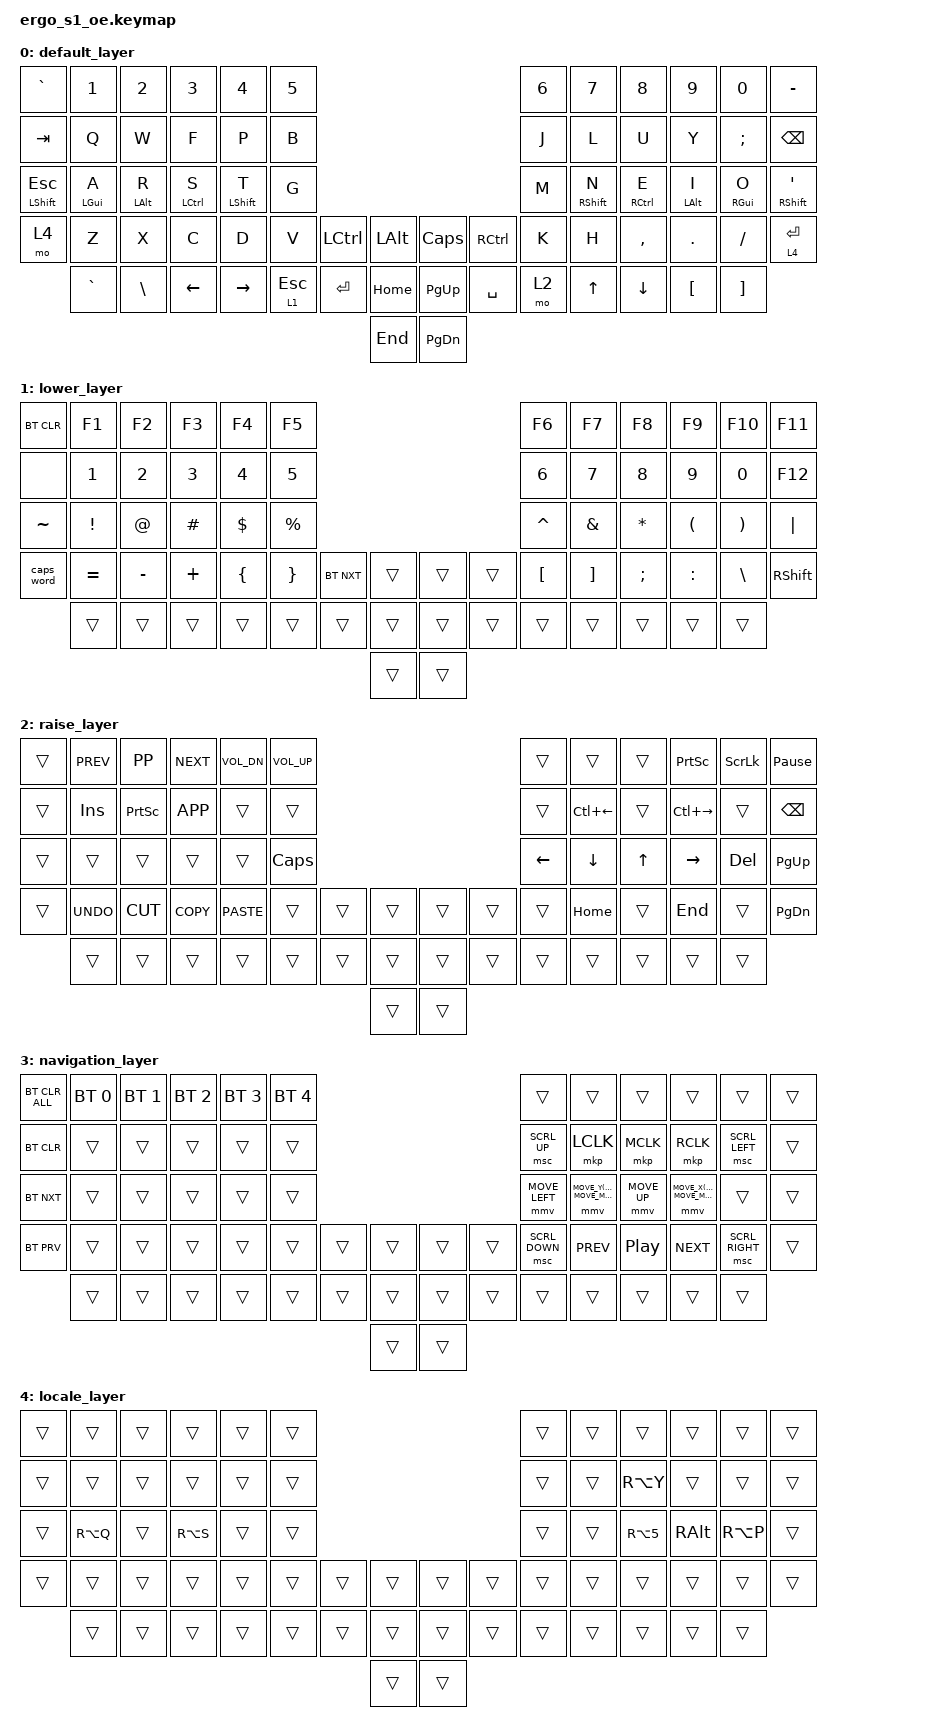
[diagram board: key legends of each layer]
/*
 * Copyright (c) 2021 The ZMK Contributors
 *
 * SPDX-License-Identifier: MIT
 */
// copy this block to https://nickcoutsos.github.io/keymap-editor/ for visualization/modification

#include <behaviors.dtsi>
#include <behaviors/mouse_keys.dtsi> // include behaviors for mkp:press, mmk:move and mcr:scroll

#include <dt-bindings/zmk/mouse.h>
#include <dt-bindings/zmk/bt.h>
#include <dt-bindings/zmk/keys.h>

// Layer Tap
// The "layer-tap" behavior enables a layer when a key is held, and outputs a keypress when the key
// is only tapped for a short time.

&lt {
    tapping-term-ms = <175>;
    flavor = "tap-preferred";
    quick-tap-ms = <50>;
};

// -- Change mouse behavior -----------------------------------------------------------------------

// The default max speed is much too slow.
// Note: when setting new speed the MOVE_{UP,LEFT,DOWN,RIGH} must per redefined
#define U_MOUSE_MOVE_MAX 1400    // New max speed setting (default: ZMK_MOUSE_DEFAULT_MOVE_VAL 600)
#undef MOVE_UP
#undef MOVE_DOWN
#undef MOVE_LEFT
#undef MOVE_RIGHT
#define MOVE_UP    MOVE_Y(-U_MOUSE_MOVE_MAX)
#define MOVE_DOWN  MOVE_Y(U_MOUSE_MOVE_MAX)
#define MOVE_LEFT  MOVE_X(-U_MOUSE_MOVE_MAX)
#define MOVE_RIGHT MOVE_X(U_MOUSE_MOVE_MAX)

// ------------------------------------------------------------------------------------------------

/ {
    behaviors {
        // homerow mods (gqt: global-quick-tap)

        hm: global-quick-tap {
            compatible = "zmk,behavior-hold-tap";
            label = "home-row-mods";
            #binding-cells = <2>;
            tapping-term-ms = <175>;
            quick-tap-ms = <50>;
            flavor = "tap-preferred";
            global-quick-tap;
            bindings = <&kp>, <&kp>;
        };

        lst: lst {
            compatible = "zmk,behavior-hold-tap";
            label = "left-shift-tap";
            bindings = <&kp>, <&kp>;

            #binding-cells = <2>;
            flavor = "balanced";
            tapping-term-ms = <280>;
            quick-tap-ms = <175>;

            // 20231229 seem to not work with mouse-ftc branch of ftc/zmk    require-prior-idle-ms = <125>;

            hold-trigger-key-positions = <18 46 7 6 8 9 10 11 23 35 51 22 34 50 65 64 63 62 47 48 49 33 32 31 30 19 20 21 67 59 44 45 60 60 61 66 58 43 42 57 56>;
        };

        rst: rst {
            compatible = "zmk,behavior-hold-tap";
            label = "right-shift-tap";
            bindings = <&kp>, <&kp>;

            #binding-cells = <2>;
            flavor = "balanced";
            tapping-term-ms = <280>;
            quick-tap-ms = <175>;
            hold-trigger-key-positions = <56 57 43 42 58 66 44 59 67 60 61 45 0 24 12 36 1 13 25 37 52 38 26 14 2 3 15 27 39 54 53 55 40 28 16 4 5 17 29 41>;
        };
    };

    /* activate NAVIGATION layer when and only when LOWER + RAISE are pressed */

    conditional_layers {
        compatible = "zmk,conditional-layers";

        tri_layer {
            if-layers = <1 2>;
            then-layer = <3>;
        };
    };

    keymap {
        compatible = "zmk,keymap";

        // PBU Notes: map right ALT to LALT on default layer to not use it as ALTGR

        default_layer {
            bindings = <
&kp GRAVE       &kp N1      &kp N2      &kp N3       &kp N4        &kp N5                                                &kp N6      &kp N7        &kp N8       &kp N9      &kp N0      &kp MINUS
&kp TAB         &kp Q       &kp W       &kp F        &kp P         &kp B                                                 &kp J       &kp L         &kp U        &kp Y       &kp SEMI    &kp BSPC
&hm LSHIFT ESC  &hm LGUI A  &hm LALT R  &hm LCTRL S  &lst LSHFT T  &kp G                                                 &kp M       &rst RSHFT N  &hm RCTRL E  &hm LALT I  &hm RGUI O  &hm RSHFT SQT
&mo 4           &kp Z       &kp X       &kp C        &kp D         &kp V      &kp LCTRL  &kp LALT  &kp CAPS   &kp RCTRL  &kp K       &kp H         &kp COMMA    &kp PERIOD  &kp SLASH   &lt 4 ENTER
                &kp GRAVE   &kp BSLH    &kp LEFT     &kp RIGHT     &lt 1 ESC  &kp ENTER  &kp HOME  &kp PG_UP  &kp SPACE  &mo 2   &kp UP        &kp DOWN     &kp LBKT    &kp RBKT
                                                                                         &kp END   &kp PG_DN
            >;
        };

        lower_layer {
            bindings = <
&bt BT_CLR  &kp F1     &kp F2     &kp F3    &kp F4    &kp F5                                     &kp F6     &kp F7    &kp F8    &kp F9     &kp F10   &kp F11
&none       &kp N1     &kp N2     &kp N3    &kp N4    &kp N5                                     &kp N6     &kp N7    &kp N8    &kp N9     &kp N0    &kp F12
&kp TILDE   &kp EXCL   &kp AT     &kp HASH  &kp DLLR  &kp PRCNT                                  &kp CARET  &kp AMPS  &kp STAR  &kp LPAR   &kp RPAR  &kp PIPE
&caps_word  &kp EQUAL  &kp MINUS  &kp PLUS  &kp LBRC  &kp RBRC   &bt BT_NXT  &trans  &trans  &trans  &kp LBKT   &kp RBKT  &kp SEMI  &kp COLON  &kp BSLH  &kp RSHFT
            &trans     &trans     &trans    &trans    &trans     &trans      &trans  &trans  &trans  &trans     &trans    &trans    &trans     &trans
                                                                             &trans  &trans
            >;
        };

        raise_layer {
            bindings = <
&trans  &kp C_PREV  &kp K_PP   &kp C_NEXT  &kp C_VOL_DN  &kp C_VOL_UP                                  &trans    &trans        &trans  &kp PSCRN      &kp SLCK  &kp PAUSE_BREAK
&trans  &kp INS     &kp PSCRN  &kp K_APP   &trans        &trans                                        &trans    &kp LC(LEFT)  &trans  &kp LC(RIGHT)  &trans    &kp BSPC
&trans  &trans      &trans     &trans      &trans        &kp CAPS                                      &kp LEFT  &kp DOWN      &kp UP  &kp RIGHT      &kp DEL   &kp PG_UP
&trans  &kp K_UNDO  &kp K_CUT  &kp K_COPY  &kp K_PASTE   &trans        &trans  &trans  &trans  &trans  &trans    &kp HOME      &trans  &kp END        &trans    &kp PG_DN
        &trans      &trans     &trans      &trans        &trans        &trans  &trans  &trans  &trans  &trans    &trans        &trans  &trans         &trans
                                                                               &trans  &trans
            >;
        };

        navigation_layer {
            bindings = <
&bt BT_CLR_ALL  &bt BT_SEL 0  &bt BT_SEL 1  &bt BT_SEL 2  &bt BT_SEL 3  &bt BT_SEL 4                            &trans          &trans          &trans            &trans           &trans          &trans
&bt BT_CLR      &trans        &trans        &trans        &trans        &trans                                  &msc SCRL_UP    &mkp LCLK       &mkp MCLK         &mkp RCLK        &msc SCRL_LEFT  &trans
&bt BT_NXT      &trans        &trans        &trans        &trans        &trans                                  &mmv MOVE_LEFT  &mmv MOVE_DOWN  &mmv MOVE_UP      &mmv MOVE_RIGHT  &trans          &trans
&bt BT_PRV      &trans        &trans        &trans        &trans        &trans  &trans  &trans  &trans  &trans  &msc SCRL_DOWN  &kp C_PREV      &kp C_PLAY_PAUSE  &kp C_NEXT       &msc SCRL_RIGHT &trans
                &trans        &trans        &trans        &trans        &trans  &trans  &trans  &trans  &trans  &trans          &trans          &trans            &trans           &trans
                                                                                        &trans  &trans
            >;
        };

        locale_layer {
            bindings = <
&trans  &trans     &trans  &trans     &trans  &trans                                  &trans  &trans  &trans      &trans    &trans     &trans
&trans  &trans     &trans  &trans     &trans  &trans                                  &trans  &trans  &kp RA(Y)   &trans    &trans     &trans
&trans  &kp RA(Q)  &trans  &kp RA(S)  &trans  &trans                                  &trans  &trans  &kp RA(N5)  &kp RALT  &kp RA(P)  &trans
&trans  &trans     &trans  &trans     &trans  &trans  &trans  &trans  &trans  &trans  &trans  &trans  &trans      &trans    &trans     &trans
        &trans     &trans  &trans     &trans  &trans  &trans  &trans  &trans  &trans  &trans  &trans  &trans      &trans    &trans
                                                              &trans  &trans
            >;
        };
    };
};

